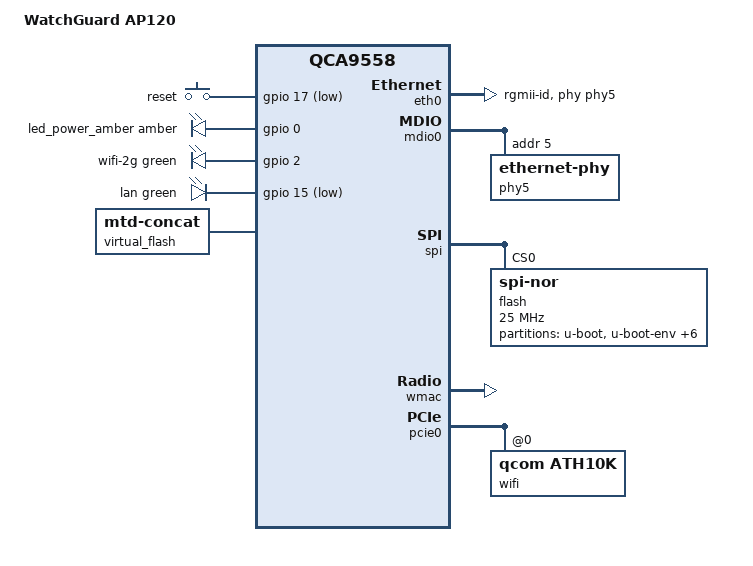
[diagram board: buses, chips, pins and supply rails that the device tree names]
// SPDX-License-Identifier: GPL-2.0-or-later OR MIT

#include "qca955x.dtsi"

#include <dt-bindings/gpio/gpio.h>
#include <dt-bindings/input/input.h>
#include <dt-bindings/leds/common.h>
#include <dt-bindings/mtd/partitions/uimage.h>

/ {
	compatible = "watchguard,ap120", "qca,qca9558";
	model = "WatchGuard AP120";

	aliases {
		label-mac-device = &eth0;
		led-boot = &led_power_amber;
		led-running = &led_power_amber;
		led-failsafe = &led_power_amber;
		led-upgrade = &led_power_amber;
	};

	keys {
		compatible = "gpio-keys";

		reset {
			linux,code = <KEY_RESTART>;
			gpios = <&gpio 17 GPIO_ACTIVE_LOW>;
			debounce-interval = <60>;
		};
	};

	leds {
		compatible = "gpio-leds";

		led_power_amber: power-amber {
			color = <LED_COLOR_ID_AMBER>;
			function = LED_FUNCTION_POWER;
			gpios = <&gpio 0 GPIO_ACTIVE_HIGH>;
		};

		wifi-2g {
			color = <LED_COLOR_ID_GREEN>;
			function = LED_FUNCTION_WLAN_2GHZ;
			gpios = <&gpio 2 GPIO_ACTIVE_HIGH>;
		};

		lan {
			color = <LED_COLOR_ID_GREEN>;
			function = LED_FUNCTION_LAN;
			gpios = <&gpio 15 GPIO_ACTIVE_LOW>;
		};
	};

	virtual_flash {
		compatible = "mtd-concat";
		devices = <&fwconcat0 &fwconcat1>;

		partitions {
			compatible = "fixed-partitions";
			#address-cells = <1>;
			#size-cells = <1>;

			partition@0 {
				compatible = "openwrt,uimage", "denx,uimage";
				openwrt,ih-magic = <0x73714f4b>;
				label = "firmware";
				reg = <0x0 0x0>;
			};
		};
	};
};

&eth0 {
	status = "okay";

	nvmem-cells = <&macaddr_art_0 0>;
	nvmem-cell-names = "mac-address";

	phy-handle = <&phy5>;
	phy-mode = "rgmii-id";

	pll-data = <0x82000000 0x80000101 0x80001313>;
};

&mdio0 {
	status = "okay";

	phy5: ethernet-phy@5 {
		reg = <5>;
		eee-broken-100tx;
		eee-broken-1000t;
	};
};

&pinmux {
	cs1_pin13: spi-cs1-pin13 {
		pinctrl-single,bits = <0xc 0x00000a00 0x0000ff00>;
	};
};

&spi {
	status = "okay";
	pinctrl-names = "default";
	pinctrl-0 = <&cs1_pin13>;

	flash@0 {
		compatible = "jedec,spi-nor";
		reg = <0>;
		spi-max-frequency = <25000000>;

		partitions {
			compatible = "fixed-partitions";
			#address-cells = <1>;
			#size-cells = <1>;

			partition@0 {
				label = "u-boot";
				reg = <0x000000 0x040000>;
				read-only;
			};

			// Note: If this partition is moved, the mtd index must also be changed in
			// package/boot/uboot-tools/uboot-envtools/files/ath79
			partition@40000 {
				label = "u-boot-env";
				reg = <0x40000 0x10000>;
			};

			partition@50000 {
				label = "jffs-config";
				reg = <0x50000 0x10000>;
				read-only;
			};

			partition@60000 {
				label = "loader";
				reg = <0x60000 0x10000>;
			};

			fwconcat1: partition@70000 {
				label = "fwconcat1";
				reg = <0x70000 0x170000>;
			};

			fwconcat0: partition@1e0000 {
				label = "fwconcat0";
				reg = <0x1e0000 0xe10000>;
			};

			partition@ff0000 {
				label = "art";
				reg = <0xff0000 0x10000>;
				read-only;

				nvmem-layout {
					compatible = "fixed-layout";
					#address-cells = <1>;
					#size-cells = <1>;

					macaddr_art_0: macaddr@0 {
						compatible = "mac-base";
						reg = <0x0 0x6>;
						#nvmem-cell-cells = <1>;
					};

					cal_art_1000: calibration@1000 {
						reg = <0x1000 0x440>;
					};

					cal_art_5000: calibration@5000 {
						reg = <0x5000 0x844>;
					};
				};
			};

			// This partition is intentionally overlapping with
			// u-boot-env, jffs-config, loader, fwconcat1 and fwconcat0
			// The dump of it can be used to revert back to OEM firmware
			// partition@1 is used because partition@40000 is already used by u-boot-env
			partition@1 {
				label = "oem-backup";
				reg = <0x40000 0xfb0000>;
				read-only;
			};
		};
	};

	// This partition is disabled because SPI CS1 via GPIO13 doesn't work
	// Toggling GPIO13 manually works.
	// Either I don't know how to do it correctly or an issue in the SPI driver
	flash@1 {
		status = "disabled";
		compatible = "jedec,spi-nor";
		reg = <1>;
		spi-max-frequency = <25000000>;

		partitions {
			compatible = "fixed-partitions";
			#address-cells = <1>;
			#size-cells = <1>;

			partition@0 {
				label = "opt";
				reg = <0x0 0x1000000>;
			};
		};
	};
};

&wmac {
	status = "okay";

	nvmem-cells = <&macaddr_art_0 1>, <&cal_art_1000>;
	nvmem-cell-names = "mac-address", "calibration";
};

&pcie0 {
	status = "okay";

	wifi@0,0 {
		compatible = "qcom,ath10k";
		reg = <0x0000 0 0 0 0>;
		nvmem-cells = <&cal_art_5000>, <&macaddr_art_0 2>;
		nvmem-cell-names = "calibration", "mac-address";
	};
};
